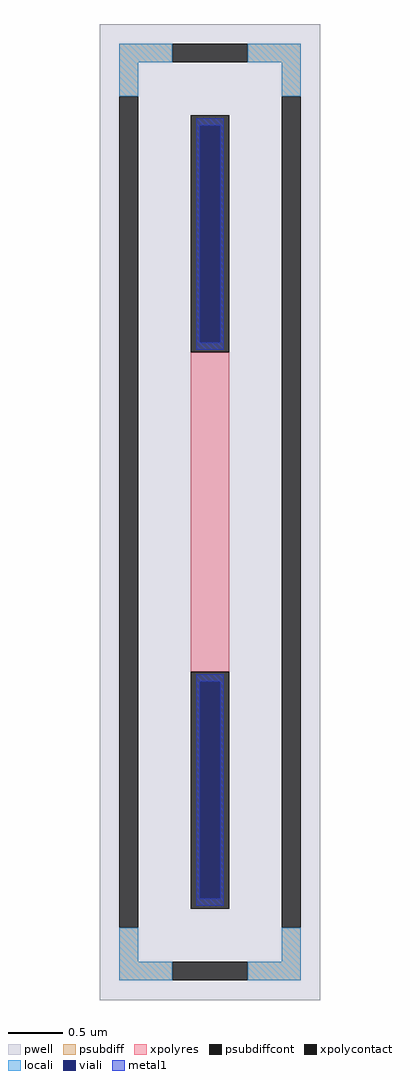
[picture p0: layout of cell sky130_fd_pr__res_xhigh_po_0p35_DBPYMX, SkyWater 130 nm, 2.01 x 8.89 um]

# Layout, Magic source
magic
tech sky130A
magscale 1 2
<< pwell >>
rect -201 -889 201 889
<< psubdiff >>
rect -165 819 -69 853
rect 69 819 165 853
rect -165 757 -131 819
rect 131 757 165 819
rect -165 -819 -131 -757
rect 131 -819 165 -757
rect -165 -853 -69 -819
rect 69 -853 165 -819
<< psubdiffcont >>
rect -69 819 69 853
rect -165 -757 -131 757
rect 131 -757 165 757
rect -69 -853 69 -819
<< xpolycontact >>
rect -35 291 35 723
rect -35 -723 35 -291
<< xpolyres >>
rect -35 -291 35 291
<< locali >>
rect -165 819 -69 853
rect 69 819 165 853
rect -165 757 -131 819
rect 131 757 165 819
rect -165 -819 -131 -757
rect 131 -819 165 -757
rect -165 -853 -69 -819
rect 69 -853 165 -819
<< viali >>
rect -19 308 19 705
rect -19 -705 19 -308
<< metal1 >>
rect -25 705 25 717
rect -25 308 -19 705
rect 19 308 25 705
rect -25 296 25 308
rect -25 -308 25 -296
rect -25 -705 -19 -308
rect 19 -705 25 -308
rect -25 -717 25 -705
<< properties >>
string FIXED_BBOX -148 -836 148 836
string gencell sky130_fd_pr__res_xhigh_po_0p35
string library sky130
string parameters w 0.350 l 3.07 m 1 nx 1 wmin 0.350 lmin 0.50 rho 2000 val 18.618k dummy 0 dw 0.0 term 188.2 sterm 0.0 caplen 0 wmax 0.350 guard 1 glc 1 grc 1 gtc 1 gbc 1 compatible {sky130_fd_pr__res_xhigh_po_0p35  sky130_fd_pr__res_xhigh_po_0p69 sky130_fd_pr__res_xhigh_po_1p41  sky130_fd_pr__res_xhigh_po_2p85 sky130_fd_pr__res_xhigh_po_5p73} snake 0 full_metal 1 n_guard 0 hv_guard 0 vias 1 viagb 0 viagt 0 viagl 0 viagr 0
<< end >>
